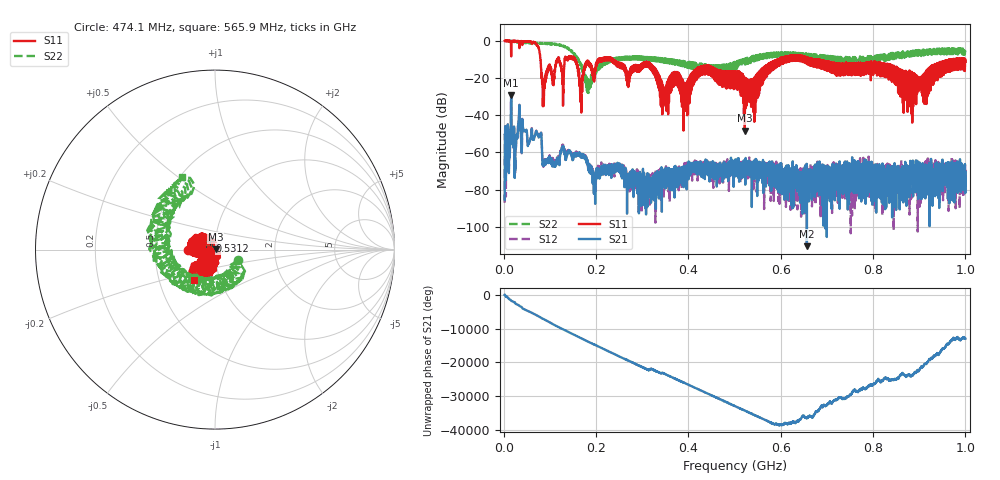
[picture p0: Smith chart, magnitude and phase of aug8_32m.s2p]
!Keysight Technologies N9923A: A.12.45
!Date: Friday, 08 August 2025 17:53:36
!Timezone: (UTC+08:00) Kuala Lumpur, Singapore
!Model: N9923A
!Serial: MY61181427
!GPS Latitude:
!GPS Longitude:
!GPS TimeStamp: 0001-01-01 00:00:00Z
!GPS Seconds Since Last Read: 0
!CHECKSUM:1937174889
!Correction: S11(ON U)S21(ON U)S12(ON U)S22(ON U)
!S2P File: Measurements:S11,S21,S12,S22:
# Hz S DB R 50
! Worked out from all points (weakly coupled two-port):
!   4001 points, 2 MHz to 1 GHz, reference 50 ohm
!   highest |S21| = -29.27 dB at 16.22 MHz (marker M1); lowest = -110.3 dB at 656.7 MHz (marker M2)
!   lowest |S11| = -48.3 dB at 522.2 MHz (marker M3), VSWR 1.01, Z = 50.3 + j0.244 ohm
!   |S11| at or under -10 dB: 155.2 MHz to 205.8 MHz (50.65 MHz wide, 28.1 % of centre); 236.1 MHz to 594.5 MHz (358.4 MHz wide, 86.3 % of centre); 680.7 MHz to 972.5 MHz (291.9 MHz wide, 35.3 % of centre) (the widest 3 of 97)
!   |S22| runs from -28.1 to 0.1 dB; largest |S21 - S12| = 0.0031
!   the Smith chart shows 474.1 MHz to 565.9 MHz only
!   S11 on the Smith chart (normalised r, x): 474.1 MHz: 0.74, -0.00; 531.2 MHz: 0.94, +0.09; 565.9 MHz: 0.75, -0.26
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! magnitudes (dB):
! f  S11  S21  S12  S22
! 2 MHz  -0.1  -85.3  -87.0  0.0
! 16.22 MHz  -8.5  -29.3  -29.6  -0.5
! 70.86 MHz  -2.0  -48.6  -48.4  -1.2
! 86.83 MHz  -35.1  -67.2  -66.2  -1.7
! 145.2 MHz  -8.4  -60.5  -60.8  -5.6
! 168.4 MHz  -36.0  -62.7  -61.4  -14.0
! 183.6 MHz  -11.3  -68.2  -68.8  -28.1
! 222.6 MHz  -9.0  -70.9  -70.1  -10.9
! 334.8 MHz  -19.0  -73.8  -78.8  -11.3
! 348.3 MHz  -30.9  -71.2  -74.1  -11.9
! 370.5 MHz  -16.8  -69.7  -68.5  -11.7
! 394.2 MHz  -35.6  -70.7  -68.9  -11.7
! 474.1 MHz  -16.4  -67.2  -67.9  -17.0
! 501 MHz  -16.3  -70.7  -65.8  -15.4
! 522.2 MHz  -48.3  -67.2  -66.4  -9.8
! 531.2 MHz  -24.9  -66.2  -70.0  -11.7
! 565.9 MHz  -13.8  -66.8  -70.6  -7.1
! 656.7 MHz  -9.6  -110.3  -69.4  -7.5
! 667.4 MHz  -10.1  -85.3  -79.7  -8.3
! 833.8 MHz  -18.8  -67.3  -72.3  -8.0
! 906.2 MHz  -22.5  -75.8  -73.5  -6.5
! 1 GHz  -11.4  -74.0  -72.2  -6.1
